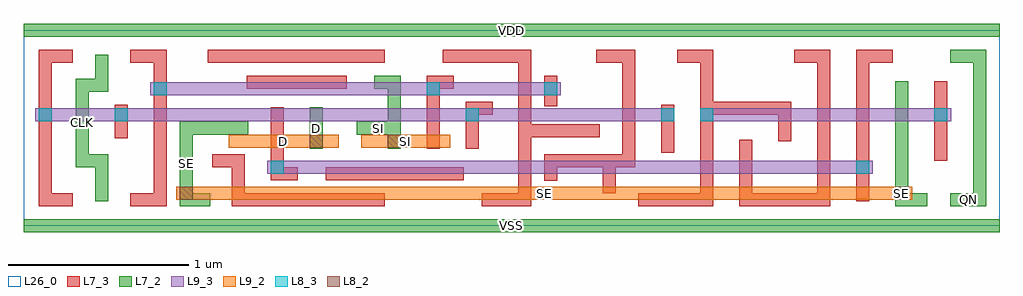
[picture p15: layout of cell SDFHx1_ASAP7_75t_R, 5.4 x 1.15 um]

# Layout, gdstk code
import gdstk
lib = gdstk.Library(unit=1e-6, precision=1e-09)
def R(c, l, rs):  # rectangles x0, y0, x1, y1
    for r in rs: c.add(gdstk.rectangle(r[:2], r[2:], *l))
L7_2 = (7, 2)
L7_3 = (7, 3)
L8_2 = (8, 2)
L8_3 = (8, 3)
L9_2 = (9, 2)
L9_3 = (9, 3)
L26_0 = (26, 0)

sdfhx1_asap7_75t_r = lib.new_cell('SDFHx1_ASAP7_75t_R')
R(sdfhx1_asap7_75t_r, L7_2, [(0,-0.036,5.4,0.036), (0.864,0.108,1.032,0.18), (0.864,0.108,0.936,0.576), (4.824,0.108,5,0.18), (4.824,0.108,4.896,0.8), (5.128,0.108,5.328,0.18), (5.256,0.108,5.328,0.972), (0.396,0.136,0.468,0.396), (0.288,0.324,0.468,0.396), (0.288,0.324,0.36,0.812), (1.584,0.424,1.656,0.656), (2.016,0.424,2.088,0.828), (0.864,0.504,1.244,0.576), (1.844,0.504,2.088,0.576), (0.288,0.74,0.468,0.812), (0.396,0.74,0.468,0.944), (1.94,0.756,2.088,0.828), (5.128,0.9,5.328,0.972), (0,1.044,5.4,1.116)])
R(sdfhx1_asap7_75t_r, L7_3, [(0.084,0.108,0.156,0.972), (0.084,0.108,0.272,0.18), (0.592,0.108,0.792,0.18), (0.72,0.108,0.792,0.972), (1.152,0.108,1.224,0.396), (1.152,0.108,2,0.18), (2.536,0.108,2.808,0.18), (2.736,0.108,2.808,0.972), (3.4,0.108,3.816,0.18), (3.744,0.108,3.816,0.972), (3.96,0.108,4.032,0.476), (3.96,0.108,4.464,0.18), (4.392,0.108,4.464,0.972), (4.608,0.136,4.68,0.972), (3.204,0.18,3.276,0.396), (2.88,0.248,2.952,0.396), (1.368,0.252,1.516,0.324), (1.368,0.252,1.44,0.656), (1.672,0.252,2.436,0.324), (1.044,0.324,1.224,0.396), (2.88,0.324,3.384,0.396), (3.312,0.324,3.384,0.972), (5.04,0.36,5.112,0.8), (3.528,0.404,3.6,0.668), (2.232,0.424,2.304,0.828), (2.448,0.424,2.52,0.684), (4.176,0.468,4.248,0.684), (0.504,0.484,0.576,0.668), (2.736,0.488,3.188,0.56), (2.448,0.612,2.596,0.684), (3.744,0.612,4.248,0.684), (2.88,0.66,2.952,0.828), (1.236,0.756,1.788,0.828), (2.232,0.756,2.38,0.828), (0.084,0.9,0.272,0.972), (0.592,0.9,0.792,0.972), (1.02,0.9,2,0.972), (2.32,0.9,2.808,0.972), (3.168,0.9,3.384,0.972), (3.616,0.9,3.816,0.972), (4.264,0.9,4.464,0.972), (4.608,0.9,4.808,0.972)])
R(sdfhx1_asap7_75t_r, L8_2, [(0.864,0.144,0.936,0.216), (4.824,0.144,4.896,0.216), (1.584,0.432,1.656,0.504), (2.016,0.432,2.088,0.504)])
R(sdfhx1_asap7_75t_r, L8_3, [(1.368,0.288,1.44,0.36), (4.608,0.288,4.68,0.36), (0.084,0.576,0.156,0.648), (0.504,0.576,0.576,0.648), (2.448,0.576,2.52,0.648), (3.528,0.576,3.6,0.648), (3.744,0.576,3.816,0.648), (5.04,0.576,5.112,0.648), (0.72,0.72,0.792,0.792), (2.232,0.72,2.304,0.792), (2.88,0.72,2.952,0.792)])
R(sdfhx1_asap7_75t_r, L9_2, [(0.844,0.144,4.916,0.216), (1.136,0.432,1.744,0.504), (1.868,0.432,2.36,0.504)])
R(sdfhx1_asap7_75t_r, L9_3, [(1.348,0.288,4.7,0.36), (0.064,0.576,3.6,0.648), (3.744,0.576,5.132,0.648), (0.7,0.72,2.972,0.792)])
R(sdfhx1_asap7_75t_r, L26_0, [(0,0,5.4,1.08)])
sdfhx1_asap7_75t_r.add(gdstk.Label('CLK', (0.324,0.568), layer=7, texttype=1))
sdfhx1_asap7_75t_r.add(gdstk.Label('QN', (5.228,0.144), layer=7, texttype=1))
sdfhx1_asap7_75t_r.add(gdstk.Label('VDD', (2.7,1.08), layer=7, texttype=1))
sdfhx1_asap7_75t_r.add(gdstk.Label('VSS', (2.7,0), layer=7, texttype=1))
sdfhx1_asap7_75t_r.add(gdstk.Label('D', (1.62,0.54), layer=7, texttype=1))
sdfhx1_asap7_75t_r.add(gdstk.Label('SE', (0.9,0.342), layer=7, texttype=1))
sdfhx1_asap7_75t_r.add(gdstk.Label('SI', (1.966,0.54), layer=7, texttype=1))
sdfhx1_asap7_75t_r.add(gdstk.Label('D', (1.44,0.468), layer=9, texttype=1))
sdfhx1_asap7_75t_r.add(gdstk.Label('SE', (2.88,0.18), layer=9, texttype=1))
sdfhx1_asap7_75t_r.add(gdstk.Label('SI', (2.114,0.468), layer=9, texttype=1))
sdfhx1_asap7_75t_r.add(gdstk.Label('D', (1.62,0.468), layer=8, texttype=1))
sdfhx1_asap7_75t_r.add(gdstk.Label('SE', (4.86,0.18), layer=8, texttype=1))
sdfhx1_asap7_75t_r.add(gdstk.Label('SI', (2.052,0.468), layer=8, texttype=1))

lib.write_gds('SDFHx1_ASAP7_75t_R.gds')
